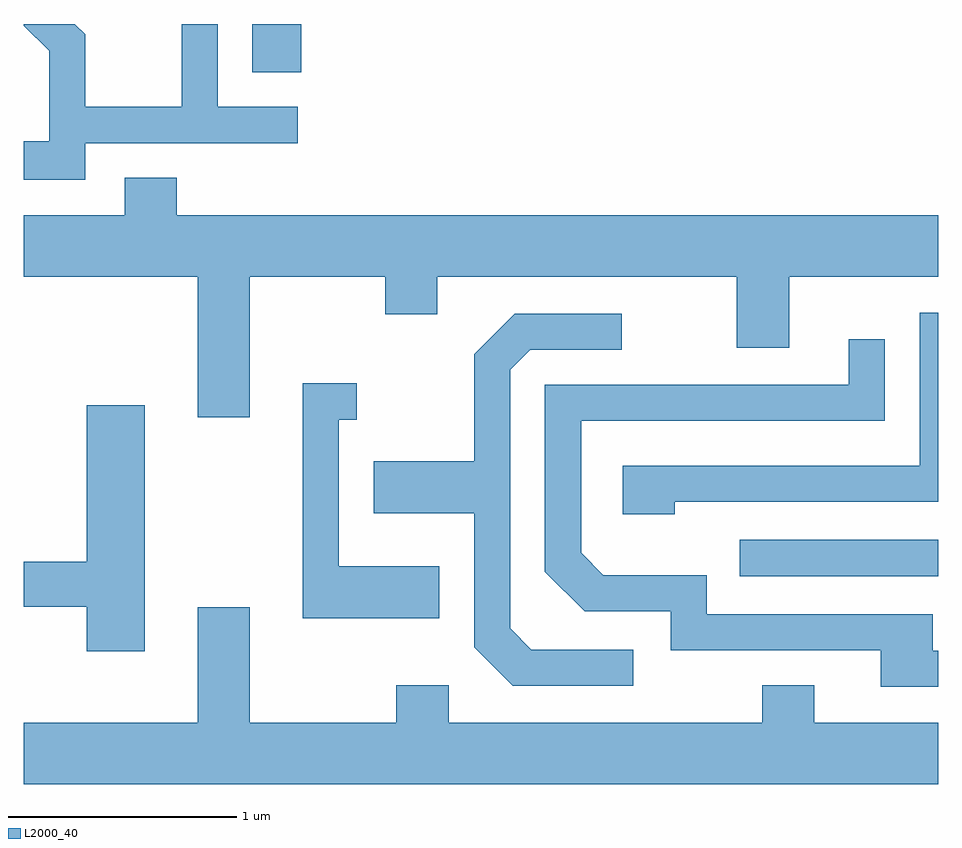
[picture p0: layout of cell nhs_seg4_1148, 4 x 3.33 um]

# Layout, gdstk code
import gdstk
lib = gdstk.Library(unit=1e-6, precision=1e-09)
def R(c, l, rs):  # rectangles x0, y0, x1, y1
    for r in rs: c.add(gdstk.rectangle(r[:2], r[2:], *l))
def P(c, l, *ps):  # polygons
    for p in ps: c.add(gdstk.Polygon(p, *l))
L2000_40 = (2000, 40)

nhs_seg4_1148 = lib.new_cell('nhs_seg4_1148')
R(nhs_seg4_1148, L2000_40, [(220.743,1375.566,221.611,1375.724), (218.611,1377.771,218.824,1377.982)])
P(nhs_seg4_1148, L2000_40, [(217.879,1377.461),(218.808,1377.461),(218.808,1377.619),(218.459,1377.619),(218.459,1377.982),(218.301,1377.982),(218.301,1377.619),(217.879,1377.619),(217.879,1377.937),(217.834,1377.982),(217.611,1377.982),(217.611,1377.974),(217.721,1377.864),(217.721,1377.469),(217.611,1377.469),(217.611,1377.301),(217.879,1377.301)],
  [(218.599,1376.876),(219.191,1376.876),(219.191,1376.711),(219.419,1376.711),(219.419,1376.876),(220.731,1376.876),(220.731,1376.566),(220.959,1376.566),(220.959,1376.876),(221.611,1376.876),(221.611,1377.144),(218.279,1377.144),(218.279,1377.309),(218.051,1377.309),(218.051,1377.144),(217.611,1377.144),(217.611,1376.876),(218.371,1376.876),(218.371,1376.261),(218.599,1376.261)],
  [(220.459,1375.891),(221.611,1375.891),(221.611,1376.719),(221.531,1376.719),(221.531,1376.049),(220.231,1376.049),(220.231,1375.836),(220.459,1375.836)],
  [(220.278,1375.244),(219.832,1375.244),(219.739,1375.337),(219.739,1376.469),(219.827,1376.556),(220.228,1376.556),(220.228,1376.714),(219.759,1376.714),(219.581,1376.537),(219.581,1376.069),(219.141,1376.069),(219.141,1375.841),(219.581,1375.841),(219.581,1375.254),(219.749,1375.086),(220.278,1375.086)],
  [(221.611,1375.239),(221.589,1375.239),(221.589,1375.399),(220.599,1375.399),(220.599,1375.569),(220.147,1375.569),(220.049,1375.667),(220.049,1376.246),(221.379,1376.246),(221.379,1376.603),(221.221,1376.603),(221.221,1376.404),(219.891,1376.404),(219.891,1375.584),(220.064,1375.411),(220.441,1375.411),(220.441,1375.241),(221.361,1375.241),(221.361,1375.081),(221.611,1375.081)],
  [(219.429,1375.609),(218.989,1375.609),(218.989,1376.251),(219.068,1376.251),(219.068,1376.409),(218.831,1376.409),(218.831,1375.381),(219.429,1375.381)],
  [(218.139,1376.314),(217.886,1376.314),(217.886,1375.629),(217.611,1375.629),(217.611,1375.431),(217.886,1375.431),(217.886,1375.236),(218.139,1375.236)],
  [(220.841,1375.089),(220.841,1374.924),(219.469,1374.924),(219.469,1375.089),(219.241,1375.089),(219.241,1374.924),(218.599,1374.924),(218.599,1375.429),(218.371,1375.429),(218.371,1374.924),(217.611,1374.924),(217.611,1374.656),(221.611,1374.656),(221.611,1374.924),(221.069,1374.924),(221.069,1375.089)])

lib.write_gds('nhs_seg4_1148.gds')
